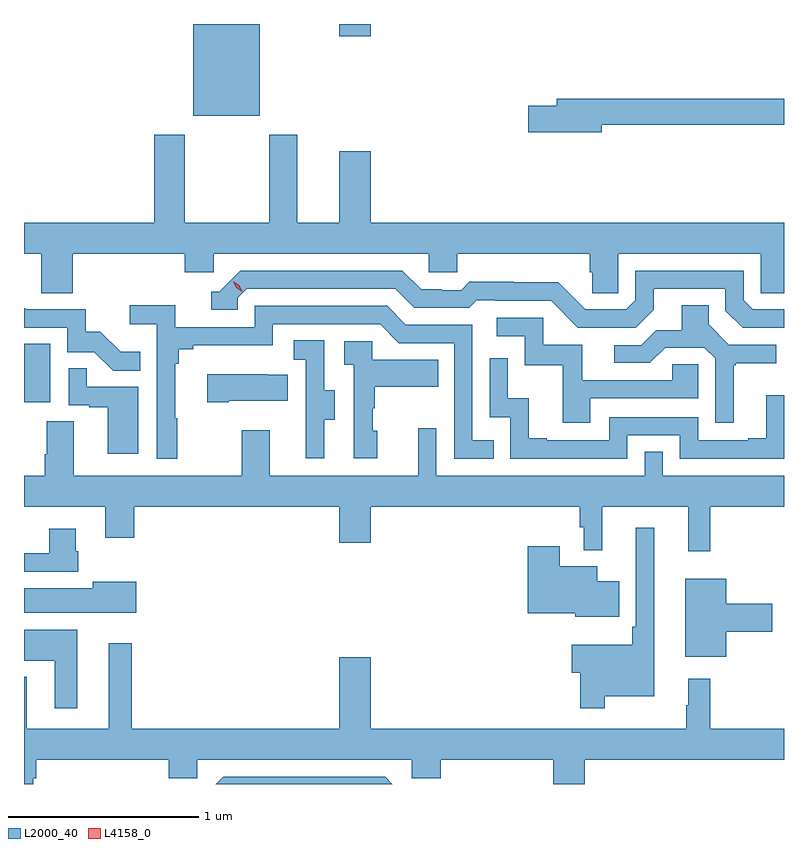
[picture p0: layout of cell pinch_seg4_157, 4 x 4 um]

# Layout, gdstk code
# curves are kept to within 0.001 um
import gdstk
lib = gdstk.Library(unit=1e-6, precision=1e-09)
def R(c, l, rs):  # rectangles x0, y0, x1, y1
    for r in rs: c.add(gdstk.rectangle(r[:2], r[2:], *l))
def P(c, l, *ps):  # polygons
    for p in ps: c.add(gdstk.Polygon(p, *l))
L2000_40 = (2000, 40)
L4158_0 = (4158, 0)

pinch_seg4_157 = lib.new_cell('pinch_seg4_157')
R(pinch_seg4_157, L2000_40, [(1122.388,796.038,1122.526,796.345), (1123.28,797.546,1123.63,798.029), (1124.048,797.964,1124.212,798.029)])
P(pinch_seg4_157, L2000_40, [(1125.43,797.5),(1126.388,797.5),(1126.388,797.636),(1125.191,797.636),(1125.191,797.6),(1125.042,797.6),(1125.042,797.458),(1125.43,797.458)],
  [(1122.644,796.82),(1123.235,796.82),(1123.235,796.722),(1123.386,796.722),(1123.386,796.82),(1124.517,796.82),(1124.517,796.722),(1124.667,796.722),(1124.667,796.82),(1125.365,796.82),(1125.365,796.722),(1125.379,796.722),(1125.379,796.612),(1125.516,796.612),(1125.516,796.82),(1126.266,796.82),(1126.266,796.612),(1126.388,796.612),(1126.388,796.984),(1124.212,796.984),(1124.212,797.359),(1124.048,797.359),(1124.048,796.984),(1123.825,796.984),(1123.825,797.446),(1123.678,797.446),(1123.678,796.984),(1123.233,796.984),(1123.233,797.446),(1123.073,797.446),(1123.073,796.984),(1122.388,796.984),(1122.388,796.82),(1122.479,796.82),(1122.479,796.612),(1122.644,796.612)],
  [(1126.388,796.527),(1126.224,796.527),(1126.176,796.575),(1126.176,796.731),(1125.606,796.731),(1125.606,796.575),(1125.558,796.527),(1125.342,796.527),(1125.2,796.669),(1124.964,796.669),(1124.964,796.672),(1124.731,796.672),(1124.689,796.629),(1124.586,796.629),(1124.586,796.632),(1124.479,796.632),(1124.38,796.731),(1123.527,796.731),(1123.416,796.62),(1123.373,796.62),(1123.373,796.524),(1123.512,796.524),(1123.512,796.587),(1123.56,796.635),(1124.343,796.635),(1124.442,796.536),(1124.731,796.536),(1124.77,796.575),(1124.869,796.575),(1124.869,796.572),(1125.162,796.572),(1125.303,796.431),(1125.609,796.431),(1125.703,796.525),(1125.703,796.635),(1126.08,796.635),(1126.08,796.521),(1126.17,796.431),(1126.388,796.43)],
  [(1123.195,795.953),(1123.183,795.953),(1123.183,796.241),(1123.202,796.241),(1123.202,796.318),(1123.279,796.318),(1123.279,796.337),(1123.698,796.337),(1123.698,796.449),(1124.262,796.449),(1124.361,796.35),(1124.652,796.35),(1124.652,795.741),(1124.861,795.741),(1124.861,795.837),(1124.748,795.837),(1124.748,796.446),(1124.398,796.446),(1124.299,796.545),(1123.602,796.545),(1123.602,796.434),(1123.184,796.434),(1123.184,796.55),(1122.945,796.55),(1122.945,796.448),(1123.086,796.448),(1123.086,795.741),(1123.195,795.741)],
  [(1126.123,796.233),(1126.135,796.233),(1126.135,796.244),(1126.348,796.244),(1126.348,796.341),(1126.098,796.341),(1125.991,796.448),(1125.991,796.55),(1125.851,796.55),(1125.851,796.418),(1125.716,796.418),(1125.636,796.338),(1125.495,796.338),(1125.495,796.245),(1125.682,796.245),(1125.763,796.326),(1125.969,796.326),(1126.026,796.269),(1126.026,795.93),(1126.123,795.93)],
  [(1123.001,796.303),(1122.897,796.303),(1122.79,796.41),(1122.714,796.41),(1122.714,796.527),(1122.395,796.527),(1122.395,796.532),(1122.388,796.532),(1122.388,796.431),(1122.615,796.431),(1122.615,796.302),(1122.759,796.302),(1122.857,796.204),(1123.001,796.204)],
  [(1125.367,796.059),(1125.936,796.059),(1125.936,796.239),(1125.799,796.239),(1125.799,796.155),(1125.325,796.155),(1125.325,796.341),(1125.12,796.341),(1125.12,796.482),(1124.877,796.482),(1124.877,796.386),(1125.024,796.386),(1125.024,796.233),(1125.223,796.233),(1125.223,795.93),(1125.367,795.93)],
  [(1123.969,795.946),(1124.023,795.946),(1124.023,796.101),(1123.968,796.101),(1123.968,796.364),(1123.809,796.364),(1123.809,796.261),(1123.872,796.261),(1123.872,795.957),(1123.871,795.957),(1123.871,795.744),(1123.969,795.744)],
  [(1124.248,795.888),(1124.223,795.888),(1124.223,796.007),(1124.233,796.007),(1124.233,796.121),(1124.567,796.121),(1124.567,796.261),(1124.22,796.261),(1124.22,796.359),(1124.073,796.359),(1124.073,796.235),(1124.124,796.235),(1124.124,795.744),(1124.248,795.744)],
  [(1125.564,795.864),(1125.84,795.864),(1125.84,795.741),(1126.388,795.741),(1126.388,796.075),(1126.295,796.075),(1126.295,795.85),(1126.199,795.85),(1126.199,795.837),(1125.936,795.837),(1125.936,795.96),(1125.468,795.96),(1125.468,795.837),(1125.139,795.837),(1125.139,795.85),(1125.044,795.85),(1125.044,796.058),(1124.934,796.058),(1124.934,796.27),(1124.838,796.27),(1124.838,795.96),(1124.946,795.96),(1124.946,795.741),(1125.564,795.741)],
  [(1122.988,796.119),(1122.719,796.119),(1122.719,796.217),(1122.624,796.217),(1122.624,796.023),(1122.731,796.023),(1122.731,796.011),(1122.83,796.011),(1122.83,795.768),(1122.988,795.768)],
  [(1123.465,796.046),(1123.775,796.046),(1123.775,796.183),(1123.667,796.183),(1123.667,796.186),(1123.353,796.186),(1123.353,796.039),(1123.465,796.039)],
  [(1126.001,795.488),(1126.388,795.488),(1126.388,795.652),(1125.75,795.652),(1125.75,795.779),(1125.654,795.779),(1125.654,795.652),(1124.559,795.652),(1124.559,795.901),(1124.462,795.901),(1124.462,795.652),(1123.681,795.652),(1123.681,795.892),(1123.534,795.892),(1123.534,795.652),(1122.649,795.652),(1122.649,795.938),(1122.509,795.938),(1122.509,795.764),(1122.497,795.764),(1122.497,795.652),(1122.388,795.652),(1122.388,795.488),(1122.815,795.488),(1122.815,795.324),(1122.968,795.324),(1122.968,795.488),(1124.048,795.488),(1124.048,795.3),(1124.212,795.3),(1124.212,795.488),(1125.313,795.488),(1125.313,795.381),(1125.333,795.381),(1125.333,795.26),(1125.431,795.26),(1125.431,795.488),(1125.884,795.488),(1125.884,795.255),(1126.001,795.255)],
  [(1125.445,794.492),(1125.706,794.492),(1125.706,795.379),(1125.609,795.379),(1125.609,794.857),(1125.589,794.857),(1125.589,794.761),(1125.272,794.761),(1125.272,794.614),(1125.316,794.614),(1125.316,794.427),(1125.445,794.427)],
  [(1122.674,795.255),(1122.661,795.255),(1122.661,795.373),(1122.521,795.373),(1122.521,795.243),(1122.388,795.243),(1122.388,795.147),(1122.674,795.147)],
  [(1125.52,795.097),(1125.406,795.097),(1125.406,795.175),(1125.208,795.175),(1125.208,795.28),(1125.038,795.28),(1125.038,794.927),(1125.288,794.927),(1125.288,794.909),(1125.52,794.909)],
  [(1126.084,794.831),(1126.327,794.831),(1126.327,794.978),(1126.084,794.978),(1126.084,795.109),(1125.869,795.109),(1125.869,794.699),(1126.084,794.699)],
  [(1122.979,795.094),(1122.749,795.094),(1122.749,795.058),(1122.388,795.058),(1122.388,794.93),(1122.979,794.93)],
  [(1122.667,794.842),(1122.388,794.842),(1122.388,794.678),(1122.551,794.678),(1122.551,794.427),(1122.667,794.427)],
  [(1122.437,794.058),(1122.452,794.058),(1122.452,794.156),(1123.149,794.156),(1123.149,794.058),(1123.299,794.058),(1123.299,794.156),(1124.43,794.156),(1124.43,794.058),(1124.582,794.058),(1124.582,794.156),(1125.173,794.156),(1125.173,794.029),(1125.338,794.029),(1125.338,794.156),(1126.388,794.156),(1126.388,794.32),(1126.001,794.32),(1126.001,794.584),(1125.884,794.584),(1125.884,794.444),(1125.873,794.444),(1125.873,794.32),(1124.212,794.32),(1124.212,794.695),(1124.048,794.695),(1124.048,794.32),(1122.955,794.32),(1122.955,794.77),(1122.833,794.77),(1122.833,794.32),(1122.403,794.32),(1122.403,794.593),(1122.388,794.593),(1122.388,794.029),(1122.437,794.029)],
  [(1124.289,794.067),(1123.436,794.067),(1123.398,794.029),(1124.327,794.029)])
P(pinch_seg4_157, L4158_0, [(1123.536,796.621),(1123.505,796.641),(1123.49,796.674),(1123.49,796.674),(1123.49,796.674),(1123.521,796.654),(1123.536,796.621),(1123.536,796.621)])

lib.write_gds('pinch_seg4_157.gds')
